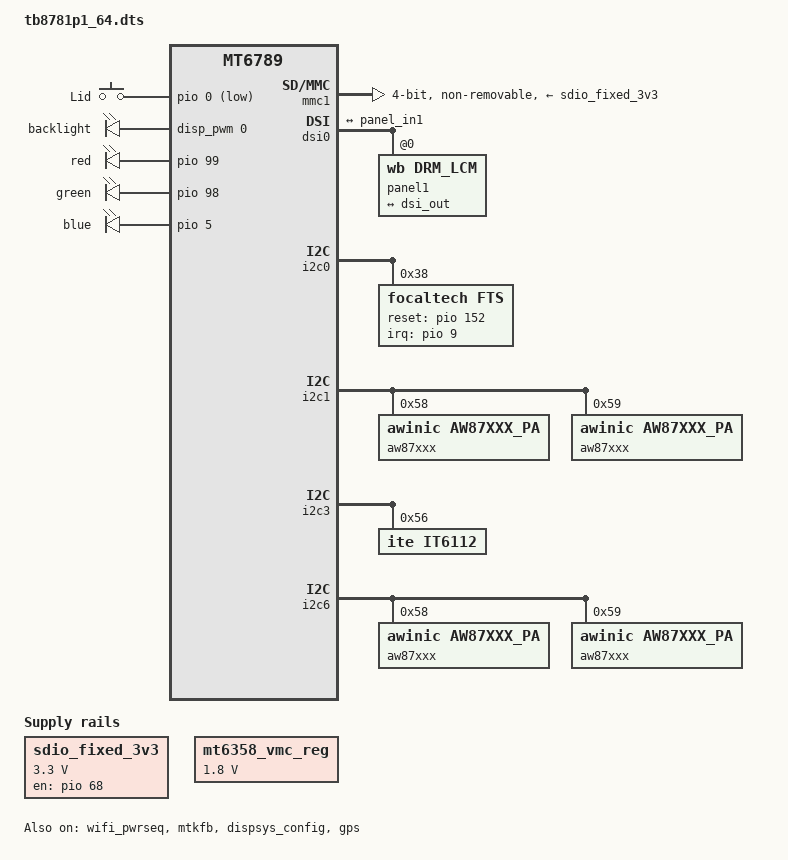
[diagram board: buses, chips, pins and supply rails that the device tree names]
// SPDX-License-Identifier: (GPL-2.0 OR MIT)
/*
 * Copyright (C) 2021 MediaTek Inc.
 */
/dts-v1/;
/plugin/;
#include <dt-bindings/interrupt-controller/arm-gic.h>
#include <dt-bindings/interrupt-controller/irq.h>
#include <dt-bindings/pinctrl/mt6789-pinfunc.h>
#include "mediatek/M101TBR100/cust_mt6789_camera.dtsi"
#include <dt-bindings/gpio/gpio.h>
#include <dt-bindings/input/input.h>
#include "mediatek/M101TBR100/mt6789_battery_prop.dtsi"
#include "mediatek/lcd/1_wb_lcd_panel_list.dtsi"

&odm {
	sdio_fixed_3v3: fixedregulator@0 {
		compatible = "regulator-fixed";
		regulator-name = "sdio_fixed_3v3";
		regulator-min-microvolt = <3300000>;
		regulator-max-microvolt = <3300000>;
		enable-active-high;
		gpio = <&pio 68 0>;
	};
};

&chosen {
};

&android {
	hardware = "mt8781";
};

&mtk_leds {
	compatible = "mediatek,pwm-leds";

	backlight {
		led_mode = <5>;
		gate_enable = <1>;
        	pwms = <&disp_pwm 0 39385>;
		pwm_config = <0 1 0 0 0>;
	};
};

&wifi_pwrseq {
	status = "okay";
	pinctrl-names = "default";
	pinctrl-0 = <&wifi_pins_pwrseq>;
	reset-gpios = <&pio 43 1>;			//reset pin GPIO number need modify
	post-power-on-delay-ms = <200>;
};

&mmc1 {
    status = "okay";
	compatible = "mediatek,mt6779-mmc";
	pinctrl-names = "default", "state_uhs", "state_eint", "state_dat1";
    pinctrl-0 = <&mmc1_pins_default>;
    pinctrl-1 = <&mmc1_pins_uhs>;
    pinctrl-2 = <&mmc1_pins_eint>;
    pinctrl-3 = <&mmc1_pins_dat1>;
    eint-gpios = <&pio 74 0>;
    bus-width = <4>;
    max-frequency = <200000000>;
    cap-sd-highspeed;
    //sd-uhs-sdr50;
    //sd-uhs-sdr104;
    cap-sdio-irq;
    cap-sdio-async-int;
    no-sd;
    keep-power-in-suspend;
    //enable-sdio-wakeup;
    non-removable;
    vmmc-supply = <&sdio_fixed_3v3>;
    vqmmc-supply = <&mt6358_vmc_reg>;
    mmc-pwrseq = <&wifi_pwrseq>;
	dvfsrc-vcore-supply = <&dvfsrc_vcore>;
	max-vcore-volt = <725000>;
};

&mt6358_vmc_reg {
	regulator-min-microvolt = <1800000>;
	regulator-max-microvolt = <1800000>;
	regulator-always-on;
};

&pio {
	mtkfb_pins_lcd_bias_enp1: lcd_bias_enp1_gpio {
		pins_cmd_dat {
			pinmux = <PINMUX_GPIO38__FUNC_GPIO38>;
			slew-rate = <1>;
			output-high;
		};
	};

	mtkfb_pins_lcd_bias_enp0: lcd_bias_enp0_gpio {
		pins_cmd_dat {
			pinmux = <PINMUX_GPIO38__FUNC_GPIO38>;
			slew-rate = <1>;
			output-low;
		};
	};

	mtkfb_pins_lcd_bias_enn1: lcd_bias_enn1_gpio {
		pins_cmd_dat {
			pinmux = <PINMUX_GPIO39__FUNC_GPIO39>;
			slew-rate = <1>;
			output-high;
		};
	};

	mtkfb_pins_lcd_bias_enn0: lcd_bias_enn0_gpio {
		pins_cmd_dat {
			pinmux = <PINMUX_GPIO39__FUNC_GPIO39>;
			slew-rate = <1>;
			output-low;
		};
	};

	mtkfb_pins_lcm_led_en1: lcm_led_en1_gpio {
		pins_cmd_dat {
			pinmux = <PINMUX_GPIO95__FUNC_GPIO95>;
			slew-rate = <1>;
			output-high;
		};
	};

	mtkfb_pins_lcm_led_en0: lcm_led_en0_gpio {
		pins_cmd_dat {
			pinmux = <PINMUX_GPIO95__FUNC_GPIO95>;
			slew-rate = <1>;
			output-low;
		};
	};

	mtkfb_pins_lcm_rst_out1_gpio: lcm_rst_out1_gpio {
		pins_cmd_dat {
			pinmux = <PINMUX_GPIO85__FUNC_GPIO85>;
			slew-rate = <1>;
			output-high;
		};
	};

	mtkfb_pins_lcm_rst_out0_gpio: lcm_rst_out0_gpio {
		pins_cmd_dat {
			pinmux = <PINMUX_GPIO85__FUNC_GPIO85>;
			slew-rate = <1>;
			output-low;
		};
	};
	mtkfb_pins_lcm_dsi_te: lcm_dsi_te {
		pins_cmd_dat {
			pinmux = <PINMUX_GPIO83__FUNC_DSI_TE>;
		};
	};
	mtkfb_pins_lcd_pwr_1v8_en: lcd_pwr_1v8_en_gpio {
		pins_cmd_dat {
			pinmux = <PINMUX_GPIO52__FUNC_GPIO52>;
		};
	};
	mtkfb_pins_lcd_pwr_3v3_en: lcd_pwr_3v3_en_gpio {
		/*pins_cmd_dat {
			pinmux = <PINMUX_GPIO51__FUNC_GPIO51>;
		};*/
	};    

	mtkfb_pins_tp_rst_gpio: tp_rst_gpio {
		pins_cmd_dat {
			pinmux = <PINMUX_GPIO152__FUNC_GPIO152>;
		};
	};    
};

&mtkfb {
	pinctrl-names = "lcd_bias_enp1_gpio", "lcd_bias_enp0_gpio",
		"lcd_bias_enn1_gpio", "lcd_bias_enn0_gpio",
        	"lcm_led_en1_gpio", "lcm_led_en0_gpio",
		"lcm_rst_out1_gpio", "lcm_rst_out0_gpio",
		"mode_te_te","lcd_pwr_1v8_en_gpio","lcd_pwr_3v3_en_gpio",
        	"tp_rst_gpio";
	pinctrl-0 = <&mtkfb_pins_lcd_bias_enp1>;
	pinctrl-1 = <&mtkfb_pins_lcd_bias_enp0>;
	pinctrl-2 = <&mtkfb_pins_lcd_bias_enn1>;
	pinctrl-3 = <&mtkfb_pins_lcd_bias_enn0>;        
	pinctrl-4 = <&mtkfb_pins_lcm_led_en1>;
	pinctrl-5 = <&mtkfb_pins_lcm_led_en0>;
	pinctrl-6 = <&mtkfb_pins_lcm_rst_out1_gpio>;
	pinctrl-7 = <&mtkfb_pins_lcm_rst_out0_gpio>;
	pinctrl-8 = <&mtkfb_pins_lcm_dsi_te>;
	pinctrl-9 = <&mtkfb_pins_lcd_pwr_1v8_en>;
	pinctrl-10 = <&mtkfb_pins_lcd_pwr_3v3_en>;
	pinctrl-11 = <&mtkfb_pins_tp_rst_gpio>;
	status = "okay";
};

&dispsys_config {
	pinctrl-names =
		"lcm_rst_out1_gpio", "lcm_rst_out0_gpio",
		"mode_te_te";
	pinctrl-0 = <&mtkfb_pins_lcm_rst_out1_gpio>;
	pinctrl-1 = <&mtkfb_pins_lcm_rst_out0_gpio>;
	pinctrl-2 = <&mtkfb_pins_lcm_dsi_te>;
	status = "okay";
};

&dsi0 {
	status = "okay";
	#address-cells = <1>;
	#size-cells = <0>;
	panel1@0 {
		compatible = "wb,drm_lcm";
		reg = <0>;
		pinctrl-names = "default";
		//rotation = <90>;
		port {
			panel_in1: endpoint {
				remote-endpoint = <&dsi_out>;
			};
		};
	};
	
	ports {
		port {
			dsi_out: endpoint {
				remote-endpoint = <&panel_in1>;
			};
		};
	};
};

&odm {
	gpio_keys: gpio-keys{
		compatible = "gpio-keys";

		lid {
			label = "Lid";
			gpios = <&pio 0 GPIO_ACTIVE_LOW>;
			linux,code = <SW_LID>;
			linux,input-type = <EV_SW>;
			gpio-key,wakeup;
		};
	};
};

/* GPS GPIO standardization start */
&pio {
	gps_pins_default: gps_default {
	};
	gps_l1_lna_pins_ol: gps_l1_lna@0 {
		pins_cmd_dat {
			pinmux = <PINMUX_GPIO25__FUNC_GPIO25>;
			output-low;
		};
	};
	gps_l1_lna_pins_dsp_ctrl: gps_l1_lna@1 {
		pins_cmd_dat {
			pinmux = <PINMUX_GPIO25__FUNC_GPS_L1_ELNA_EN>;
		};
	};
	gps_l1_lna_pins_oh: gps_l1_lna@2 {
		pins_cmd_dat {
			pinmux = <PINMUX_GPIO25__FUNC_GPIO25>;
			output-high;
		};
	};
	gps_l5_lna_pins_ol: gps_l5_lna@0 {
		pins_cmd_dat {
			pinmux = <PINMUX_GPIO26__FUNC_GPIO26>;
			output-low;
		};
	};
	gps_l5_lna_pins_dsp_ctrl: gps_l5_lna@1 {
		pins_cmd_dat {
			pinmux = <PINMUX_GPIO26__FUNC_GPS_L5_ELNA_EN>;
		};
	};
	gps_l5_lna_pins_oh: gps_l5_lna@2 {
		pins_cmd_dat {
			pinmux = <PINMUX_GPIO26__FUNC_GPIO26>;
			output-high;
		};
	};
	
	mmc1_pins_default: mmc1default {
		pins_cmd_dat {
			pinmux = <PINMUX_GPIO72__FUNC_MSDC1_CMD>,
				<PINMUX_GPIO73__FUNC_MSDC1_DAT0>,
				<PINMUX_GPIO74__FUNC_MSDC1_DAT1>,
				<PINMUX_GPIO75__FUNC_MSDC1_DAT2>,
				<PINMUX_GPIO76__FUNC_MSDC1_DAT3>;
			drive-strength = <MTK_DRIVE_6mA>;
			input-enable;
			bias-pull-up = <MTK_PUPD_SET_R1R0_01>;
		};
		pins_clk {
			pinmux = <PINMUX_GPIO71__FUNC_MSDC1_CLK>;
			drive-strength = <MTK_DRIVE_6mA>;
			bias-pull-down = <MTK_PUPD_SET_R1R0_10>;
			input-enable;
		};
	};
	mmc1_pins_uhs: mmc1 {
		pins_cmd_dat {
			pinmux = <PINMUX_GPIO72__FUNC_MSDC1_CMD>,
				<PINMUX_GPIO73__FUNC_MSDC1_DAT0>,
				<PINMUX_GPIO74__FUNC_MSDC1_DAT1>,
				<PINMUX_GPIO75__FUNC_MSDC1_DAT2>,
				<PINMUX_GPIO76__FUNC_MSDC1_DAT3>;
			drive-strength = <MTK_DRIVE_6mA>;
			input-enable;
			bias-pull-up = <MTK_PUPD_SET_R1R0_01>;
		};

		pins_clk {
			pinmux = <PINMUX_GPIO71__FUNC_MSDC1_CLK>;
			drive-strength = <MTK_DRIVE_6mA>;
			bias-pull-down = <MTK_PUPD_SET_R1R0_10>;
			input-enable;
		};
	};
	mmc1_pins_eint: mmc1eint {
		pins_dat1 {
			pinmux = <PINMUX_GPIO74__FUNC_GPIO74>;
			input-enable;
			bias-pull-up = <MTK_PUPD_SET_R1R0_01>;
		};
	};

	mmc1_pins_dat1: mmc1dat1 {
		pins_dat1 {
			pinmux = <PINMUX_GPIO74__FUNC_MSDC1_DAT1>;
			drive-strength = <MTK_DRIVE_6mA>;
			bias-pull-up = <MTK_PUPD_SET_R1R0_01>;
		};
	};

	wifi_pins_pwrseq: wifipwrseq {
		pins_wifi_enable {
			pinmux = <PINMUX_GPIO43__FUNC_GPIO43>;
			drive-strength = <MTK_DRIVE_6mA>;
			output-low;
		};
	};
};

/*Microtrust(TEEI) utos real driver */
&utos {
microtrust,real-drv = <1>;
};
/*svp start*/
&mtee_svp {
	mtee: MTEE {
		compatible = "mediatek,mtk_svp_on_mtee_support";
	};

	svp: SecureVideoPath {
		compatible = "mediatek,mtk_sec_video_path_support";
	};
};
/*svp end*/


&extcon_usb {
	pinctrl-names = "default";
	pinctrl-0 = <&docking_eint_default>;
	docking_eint_gpio = <&pio 10 0x0>;
	interrupt-parent = <&pio>;
	interrupts = <10 IRQ_TYPE_LEVEL_LOW 10 0>;
};

&pio {
	docking_eint_default: docking_eint_default {
		pins_cmd_dat {
			pinmux = <PINMUX_GPIO10__FUNC_GPIO10>;
			slew-rate = <0>;
			bias-pull-up;
		};
	};
};

&cust_gpios {
	compatible = "cust,cust_gpios";
	gpio_it6112_en = <&pio 37 0>;
	gpio_bias_pos = <&pio 38 0>;
	gpio_bias_neg = <&pio 39 0>;
	gpio_bias_en = <&pio 95 0>;
	gpio_lcm_1v8 = <&pio 52 0>;
	/*gpio_lcm_3v3 = <&pio 51 0>;*/
	gpio_lcm_rst = <&pio 85 0>;

	/*gpio_typec_otg_en   = <&pio 40 0>;*/
	gpio_otg_5v_en      = <&pio 36 0>;
	gpio_docking_en     = <&pio 34 0>;
	gpio_usb_switch     = <&pio 41 0>;

	gpio_rled_ctl = <&pio 99 0>;
	gpio_gled_ctl = <&pio 98 0>;
	gpio_bled_ctl = <&pio 5 0>;
	status = "okay";
};

&gps {
	pinctrl-names = "default",
		"gps_l1_lna_disable",
		"gps_l1_lna_dsp_ctrl",
		"gps_l1_lna_enable",
		"gps_l5_lna_disable",
		"gps_l5_lna_dsp_ctrl",
		"gps_l5_lna_enable";
	pinctrl-0 = <&gps_pins_default>;
	pinctrl-1 = <&gps_l1_lna_pins_ol>;
	pinctrl-2 = <&gps_l1_lna_pins_dsp_ctrl>;
	pinctrl-3 = <&gps_l1_lna_pins_oh>;
	pinctrl-4 = <&gps_l5_lna_pins_ol>;
	pinctrl-5 = <&gps_l5_lna_pins_dsp_ctrl>;
	pinctrl-6 = <&gps_l5_lna_pins_oh>;
	status = "okay";
};
/* GPS GPIO standardization end */

//#include "mediatek/cust_mt6789_touch_1080x2400.dtsi"
//#include "mediatek/cust_mt6789_camera_v4l2.dtsi"

&i2c0 {
        focaltech@38{ 
            compatible = "focaltech,fts";	
            reg = <0x38>;  					
            interrupt-parent = <&pio>;			
            interrupts = <9 IRQ_TYPE_EDGE_FALLING 9 0>;
            focaltech,reset-gpio = <&pio 152 0>; 
            focaltech,irq-gpio = <&pio 9 IRQ_TYPE_EDGE_FALLING>; 	
            focaltech,max-touch-number = <10>;			
            focaltech,display-coords =  <0 0 1200 2000>;	 
		};    
};

&i2c1 {
    aw87xxx@58 {
        compatible = "awinic,aw87xxx_pa";
        reg = <0x58>;
        dev_index = <0>;
        status = "okay";
    }; 
    aw87xxx@59 {
        compatible = "awinic,aw87xxx_pa";
        reg = <0x59>;
        dev_index = <3>;
        status = "okay";
    };
};


&i2c3 {
	it6112@56 {
		compatible = "ite,it6112";
		reg = <0x56>;                      
		status = "okay";
	};
};
    
&i2c6 {
	//rt9465@4b {
	//        compatible = "richtek,rt9465";
	//        reg = <0x4b>;
	//        status = "okay";
	//        rt,en_gpio_num = <48>;
	//        rt,en_gpio = <&pio 48 0x0>;
	//        mt6306_en_pin = <1>;
	//        rt,intr_gpio_num = <12>; /* direct defined GPIO num */
	//        rt,intr_gpio = <&pio 12 0x0>;
	//        interrupt-names = "wdtmri";
	//        charger_name = "secondary_chg";
	//        ichg = <1500000>; /* uA */
	//        mivr = <4500000>; /* uV */
	//        cv = <4350000>; /* uV */
	//        ieoc = <700000>; /* uA */
	//        safety_timer = <12>; /* hour */
	//        en_st; /* safety timer */
	//        /* en_te; */
	//        en_wdt;
	//};


   aw87xxx@58 {
        compatible = "awinic,aw87xxx_pa";
        reg = <0x58>;
        dev_index = <1>;
        status = "okay";
    }; 
    aw87xxx@59 {
        compatible = "awinic,aw87xxx_pa";
        reg = <0x59>;
        dev_index = <2>;
        status = "okay";
    };

};

&leds{
	red {
		label = "red";
		gpios = <&pio 99 0x0>;
		default-state = "off";
	};

	green {
		label = "green";
		gpios = <&pio 98 0x0>;
		default-state = "off";
	};

	blue {
		label = "blue";
		gpios = <&pio 5 0x0>;
		default-state = "off";
	};
};

&lk_charger{
	max_charger_voltage = <13000000>;
};

&charger{
    battery_cv = <4450000>;
    charger = <&sc8989x_chg>;
    max_charger_voltage = <13000000>;
    charger_configuration= <0>;
};

&mtk_gauge {
	charger = <&sc8989x_chg>;
};

&extcon_usb {
	charger = <&sc8989x_chg>;
	id-gpios = <&pio 13 0x0>;
};

&accdet{
	/*1:ACC mode, 2:low cost without in bias, 6:low cost with in bias*/
	accdet-mic-mode = <1>;
	/* eint_level_trigger: 8,LEVEL_LOW(DEF) ;4,LV_HIGH;others,LV_LOW */
	headset-eint-level-pol = <8>;
};

#include <tb8781p1_64/cust.dtsi>
/*End of this file, DO NOT ADD ANYTHING HERE*/
